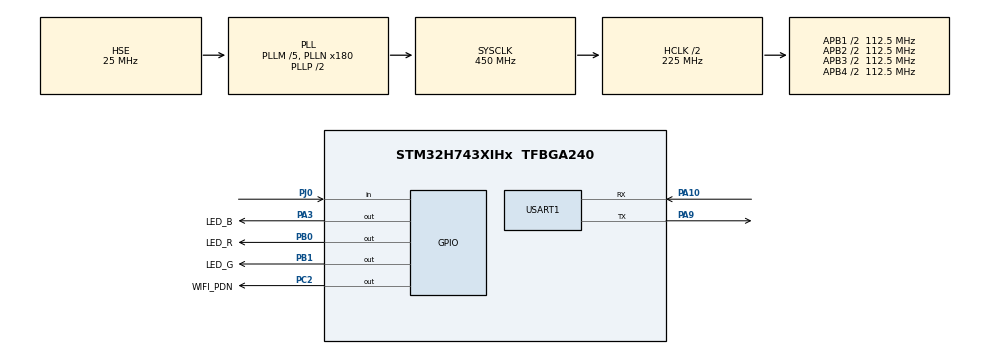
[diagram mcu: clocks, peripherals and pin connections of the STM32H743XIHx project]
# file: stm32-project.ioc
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CORTEX_M7.AccessPermission_S-Cortex_Memory_Protection_Unit_Region1_Settings_S=MPU_REGION_FULL_ACCESS
CORTEX_M7.AccessPermission_S-Cortex_Memory_Protection_Unit_Region2_Settings_S=MPU_REGION_FULL_ACCESS
CORTEX_M7.AccessPermission_Spec=MPU_REGION_FULL_ACCESS
CORTEX_M7.BaseAddress_S-Cortex_Memory_Protection_Unit_Region1_Settings_S=0x30044000
CORTEX_M7.BaseAddress_S-Cortex_Memory_Protection_Unit_Region2_Settings_S=0xD0000000
CORTEX_M7.BaseAddress_Spec=0x30040000
CORTEX_M7.CPU_DCache=Disabled
CORTEX_M7.CPU_ICache=Disabled
CORTEX_M7.DisableExec_S-Cortex_Memory_Protection_Unit_Region1_Settings_S=MPU_INSTRUCTION_ACCESS_DISABLE
CORTEX_M7.DisableExec_S-Cortex_Memory_Protection_Unit_Region2_Settings_S=MPU_INSTRUCTION_ACCESS_DISABLE
CORTEX_M7.Enable-Cortex_Memory_Protection_Unit_Region0_Settings=__NULL
CORTEX_M7.Enable-Cortex_Memory_Protection_Unit_Region15_Settings=__NULL
CORTEX_M7.Enable_S-Cortex_Memory_Protection_Unit_Region1_Settings_S=MPU_REGION_ENABLE
CORTEX_M7.Enable_S-Cortex_Memory_Protection_Unit_Region2_Settings_S=MPU_REGION_ENABLE
CORTEX_M7.IsBufferable_S-Cortex_Memory_Protection_Unit_Region2_Settings_S=MPU_ACCESS_BUFFERABLE
CORTEX_M7.IsBufferable_Spec=MPU_ACCESS_BUFFERABLE
CORTEX_M7.IsCacheable_S-Cortex_Memory_Protection_Unit_Region1_Settings_S=MPU_ACCESS_CACHEABLE
CORTEX_M7.IsCacheable_S-Cortex_Memory_Protection_Unit_Region2_Settings_S=MPU_ACCESS_CACHEABLE
CORTEX_M7.IsShareable_Spec=MPU_ACCESS_NOT_SHAREABLE
CORTEX_M7.MPU_Control=MPU_PRIVILEGED_DEFAULT
CORTEX_M7.Size_S-Cortex_Memory_Protection_Unit_Region1_Settings_S=MPU_REGION_SIZE_16KB
CORTEX_M7.Size_S-Cortex_Memory_Protection_Unit_Region2_Settings_S=MPU_REGION_SIZE_64MB
CORTEX_M7.Size_Spec=MPU_REGION_SIZE_256B
CORTEX_M7.SubRegionDisable_Spec=0x00
CORTEX_M7.TypeExtField_S-Cortex_Memory_Protection_Unit_Region2_Settings_S=MPU_TEX_LEVEL1
CORTEX_M7.default_mode_Activation=0
Mcu.Family=STM32H7
Mcu.Name=STM32H743XIHx
Mcu.Package=TFBGA240
NVIC.PriorityGroup=NVIC_PRIORITYGROUP_4
NVIC.TIM6_DAC_IRQn=true\:15\:0\:false\:false\:true\:false\:true\:true
NVIC.TimeBase=TIM6_DAC_IRQn
NVIC.TimeBaseIP=TIM6
NVIC.USART1_IRQn=true\:0\:0\:false\:false\:true\:true\:true\:true
PA10.Mode=Asynchronous
PA10.Signal=USART1_RX
PA13\ (JTMS/SWDIO).Mode=Serial_Wire
PA13\ (JTMS/SWDIO).Signal=DEBUG_JTMS-SWDIO
PA14\ (JTCK/SWCLK).Mode=Serial_Wire
PA14\ (JTCK/SWCLK).Signal=DEBUG_JTCK-SWCLK
PA3.GPIO_Label=LED_B
PA3.GPIO_ModeDefaultOutputPP=GPIO_MODE_OUTPUT_PP
PA3.GPIO_PuPd=GPIO_PULLUP
PA3.PinState=GPIO_PIN_SET
PA3.Signal=GPIO_Output
PA9.Mode=Asynchronous
PA9.Signal=USART1_TX
PB0.GPIO_Label=LED_R
PB0.GPIO_PuPd=GPIO_PULLUP
PB0.PinState=GPIO_PIN_SET
PB0.Signal=GPIO_Output
PB1.GPIO_Label=LED_G
PB1.GPIO_ModeDefaultOutputPP=GPIO_MODE_OUTPUT_PP
PB1.GPIO_PuPd=GPIO_PULLUP
PB1.PinState=GPIO_PIN_SET
PB1.Signal=GPIO_Output
PC2.GPIO_Label=WIFI_PDN
PC2.GPIO_ModeDefaultOutputPP=GPIO_MODE_OUTPUT_PP
PC2.GPIO_PuPd=GPIO_PULLUP
PC2.PinState=GPIO_PIN_RESET
PC2.Signal=GPIO_Output
PH0-OSC_IN\ (PH0).Mode=HSE-External-Oscillator
PH0-OSC_IN\ (PH0).Signal=RCC_OSC_IN
PH1-OSC_OUT\ (PH1).Mode=HSE-External-Oscillator
PH1-OSC_OUT\ (PH1).Signal=RCC_OSC_OUT
PJ0.Signal=GPIO_Input
ProjectManager.HeapSize=0x1200
ProjectManager.StackSize=0x1200
ProjectManager.TargetToolchain=MDK-ARM V5.32
RCC.ADCFreq_Value=450000000
RCC.APB1Freq_Value=112500000
RCC.APB2Freq_Value=112500000
RCC.APB3Freq_Value=112500000
RCC.APB4Freq_Value=112500000
RCC.CortexFreq_Value=450000000
RCC.D1PPRE=RCC_APB3_DIV2
RCC.D2PPRE1=RCC_APB1_DIV2
RCC.D2PPRE2=RCC_APB2_DIV2
RCC.D3PPRE=RCC_APB4_DIV2
RCC.DIVM1=5
RCC.DIVM2=5
RCC.DIVN1=180
RCC.DIVN2=180
RCC.DIVQ1=4
RCC.DIVR2=12
RCC.FMCCLockSelection=RCC_FMCCLKSOURCE_PLL
RCC.HCLKFreq_Value=225000000
RCC.HPRE=RCC_HCLK_DIV2
RCC.PLL2FRACN=0
RCC.PLL3FRACN=0
RCC.PLLFRACN=0
RCC.PLLSourceVirtual=RCC_PLLSOURCE_HSE
RCC.QSPICLockSelection=RCC_QSPICLKSOURCE_PLL
RCC.SYSCLKFreq_VALUE=450000000
RCC.SYSCLKSource=RCC_SYSCLKSOURCE_PLLCLK
RCC.USBFreq_Value=225000000
USART1.VirtualMode-Asynchronous=VM_ASYNC
VP_MEMORYMAP_VS_MEMORYMAP.Mode=CurAppReg
VP_SYS_VS_tim6.Mode=TIM6
board=custom

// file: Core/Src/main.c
/* USER CODE BEGIN Header */
/**
  ******************************************************************************
  * @file           : main.c
  * @brief          : Minimal UART-only demo: echo bytes back over USART1.
  ******************************************************************************
  * @attention
  *
  * Copyright (c) 2026 STMicroelectronics.
  * All rights reserved.
  *
  * This software is licensed under terms that can be found in the LICENSE file
  * in the root directory of this software component.
  * If no LICENSE file comes with this software, it is provided AS-IS.
  *
  ******************************************************************************
  */
/* USER CODE END Header */
#include "main.h"
#include "usart.h"
#include "gpio.h"

/* USER CODE BEGIN Includes */
#include <errno.h>
#include <stdbool.h>
#include <stdlib.h>
#include <string.h>
#include "log.h"
#include "SEGGER_RTT.h"
/* USER CODE END Includes */

/* USER CODE BEGIN PTD */
typedef void (*cmd_handler_t)(int argc, char *argv[]);

typedef struct {
  const char *name;
  cmd_handler_t handler;
  const char *help;   /* one-line usage, printed by 'help' and on arg errors */
} cmd_entry_t;

typedef struct {
  const char *name;    /* "r" / "g" / "b" */
  GPIO_TypeDef *port;
  uint16_t pin;
} led_map_t;

typedef struct {
  bool     pending;   /* set until the done print; new requests are rejected while set */
  uint32_t id;        /* per-slot accepted counter, echoed on accept and on done */
  uint32_t start;     /* HAL_GetTick() snapshot at accept */
  uint32_t due;       /* accepted delay in ms */
} rtt_async_slot_t;

/* Forward declarations: s_cmd_table (PV) references the handlers, so these
   must precede it; the PFP section sits after PV in the CubeMX layout. */
static void rtt_cmd_poll(void);
static void rtt_line_feed(uint8_t c);
static void cmd_execute_line(void);
static uint32_t cmd_tokenize(char *line, char *argv[], uint32_t max_argc);
static const cmd_entry_t *cmd_lookup(const char *name);
static void cmd_help(int argc, char *argv[]);
static const led_map_t *led_lookup(const char *name);
static void cmd_led(int argc, char *argv[]);
static void cmd_tick(int argc, char *argv[]);
static void cmd_reboot(int argc, char *argv[]);
static bool cmd_parse_ms(const char *arg, uint32_t *out_ms);
static bool rtt_async_claim(rtt_async_slot_t *slot, uint32_t ms);
static void rtt_async_cancel(rtt_async_slot_t *slot, const char *name);
static void rtt_async_report(const rtt_async_slot_t *slot, const char *name);
static void cmd_async1(int argc, char *argv[]);
static void cmd_async2(int argc, char *argv[]);
static void cmd_async_status(int argc, char *argv[]);
static void cmd_echo(int argc, char *argv[]);
static void rtt_tick_task(void);
static void rtt_async_task(void);
/* USER CODE END PTD */

/* USER CODE BEGIN PD */
#define RTT_PROMPT         "rtt> "   /* shell prompt */
#define RTT_CMD_LINE_MAX   64u       /* line buffer: command + args + NUL */
#define RTT_CMD_MAX_ARGS   8u        /* tokens kept; argv array holds one more NULL sentinel */
#define RTT_POLL_PERIOD_MS 10u       /* main loop idle cadence */
#define RTT_TICK_PERIOD_MS 1000u     /* periodic tick print period */
#define RTT_DLY_DEFAULT_MS 1000u     /* async1/async2 delay when no argument is given */
#define RTT_ASYNC_SLOT_1   0u        /* s_async[] index of the 'async1' slot */
#define RTT_ASYNC_SLOT_2   1u        /* s_async[] index of the 'async2' slot */
#define RTT_ASYNC_SLOT_COUNT 2u
/* USER CODE END PD */

/* USER CODE BEGIN PV */
static const char s_led_usage[] = "led <r|g|b> [on|off|toggle] : drive or query LED";
static const char s_tick_usage[] = "tick [on|off] : show or set 1 s print";
static const char s_async1_usage[] = "async1 [ms|cancel] : reply now and again at timeout (default 1000)";
static const char s_async2_usage[] = "async2 [ms|quiet|cancel] : silent accept, result at timeout only (default 1000)";
static const char s_async_status_usage[] = "async : show both async channels' state";
static const char s_echo_usage[] = "echo <text> [text...] : echo tokens joined by single spaces";

static const cmd_entry_t s_cmd_table[] = {
  {"help",   cmd_help,   "list commands"},
  {"?",      cmd_help,   "alias of help"},
  {"led",    cmd_led,    s_led_usage},
  {"tick",   cmd_tick,   s_tick_usage},
  {"reboot", cmd_reboot, "reset MCU"},
  {"async",  cmd_async_status, s_async_status_usage},
  {"async1", cmd_async1, s_async1_usage},
  {"async2", cmd_async2, s_async2_usage},
  {"echo",   cmd_echo,   s_echo_usage},
  {NULL, NULL, NULL}
};
static const led_map_t s_led_table[] = {
  {"r", LED_R_GPIO_Port, LED_R_Pin},
  {"g", LED_G_GPIO_Port, LED_G_Pin},
  {"b", LED_B_GPIO_Port, LED_B_Pin},   /* LED_B lives on GPIOA, unlike R and G */
  {NULL, NULL, 0}
};
static char     s_line[RTT_CMD_LINE_MAX];   /* in-progress input line */
static uint16_t s_line_len;
static bool     s_cr_last;                  /* true = last byte was a submit CR: swallow the LF of CRLF */
static bool     s_tick_enabled = false;      /* quiet by default; enable with 'tick on' */
static uint32_t s_seconds;    /* uptime counter for the tick print */
static uint32_t s_tick_ref;   /* HAL_GetTick() snapshot of the last 1 s expiry */
static volatile uint32_t s_boot_mark = 0x31415926u;   /* build marker: debugger-visible via rtt.mem_read */
static rtt_async_slot_t s_async[RTT_ASYNC_SLOT_COUNT];   /* [SLOT_1]=async1, [SLOT_2]=async2 */
static const char * const s_async_name[RTT_ASYNC_SLOT_COUNT] = {"async1", "async2"};
/* USER CODE END PV */

void SystemClock_Config(void);
static void MPU_Config(void);

int main(void)
{

  /* MPU Configuration--------------------------------------------------------*/
  MPU_Config();

  /* MCU Configuration--------------------------------------------------------*/

  /* Reset of all peripherals, Initializes the Flash interface and the Systick. */
  HAL_Init();

  /* Configure the system clock */
  SystemClock_Config();

  /* Initialize all configured peripherals */
  MX_GPIO_Init();
  MX_USART1_UART_Init();
  /* USER CODE BEGIN 2 */
  log_line("");
  log_line("=== basic-jlink-rtt : UART TX-only ===");
  log_line("USART1 115200 8N1, transmit only.");

  /* SEGGER RTT: output goes to the J-Link RTT Viewer/Console on channel 0. */
  SEGGER_RTT_ConfigUpBuffer(0, NULL, NULL, 0, SEGGER_RTT_MODE_NO_BLOCK_SKIP);
  SEGGER_RTT_printf(0, "\r\n=== basic-jlink-rtt : RTT ===\r\n");
  SEGGER_RTT_printf(0, "RTT channel 0 ready. Output also mirrored on USART1.\r\n");
  s_tick_ref = HAL_GetTick();
  (void)s_boot_mark;   /* volatile read: pins the marker in the image so rtt.mem_read can see it */
  SEGGER_RTT_printf(0, "Type 'help' for commands.\r\n");
  SEGGER_RTT_printf(0, RTT_PROMPT);
  /* USER CODE END 2 */

  /* Infinite loop */
  /* USER CODE BEGIN WHILE */
  while (1)
  {
    rtt_cmd_poll();
    rtt_tick_task();
    rtt_async_task();

    if (SEGGER_RTT_HasData(0) == 0u)
    {
      HAL_Delay(RTT_POLL_PERIOD_MS);   /* idle cadence; busy-poll while the host streams data */
    }
    /* USER CODE END WHILE */

  }
}

void SystemClock_Config(void)
{
  RCC_OscInitTypeDef RCC_OscInitStruct = {0};
  RCC_ClkInitTypeDef RCC_ClkInitStruct = {0};

  /** Supply configuration update enable
  */
  HAL_PWREx_ConfigSupply(PWR_LDO_SUPPLY);

  /** Configure the main internal regulator output voltage
  */
  __HAL_PWR_VOLTAGESCALING_CONFIG(PWR_REGULATOR_VOLTAGE_SCALE0);

  while(!__HAL_PWR_GET_FLAG(PWR_FLAG_VOSRDY)) {}

  /** Initializes the RCC Oscillators according to the specified parameters
  * in the RCC_OscInitTypeDef structure.
  */
  RCC_OscInitStruct.OscillatorType = RCC_OSCILLATORTYPE_HSE;
  RCC_OscInitStruct.HSEState = RCC_HSE_ON;
  RCC_OscInitStruct.PLL.PLLState = RCC_PLL_ON;
  RCC_OscInitStruct.PLL.PLLSource = RCC_PLLSOURCE_HSE;
  RCC_OscInitStruct.PLL.PLLM = 5;
  RCC_OscInitStruct.PLL.PLLN = 180;
  RCC_OscInitStruct.PLL.PLLP = 2;
  RCC_OscInitStruct.PLL.PLLQ = 4;
  RCC_OscInitStruct.PLL.PLLR = 2;
  RCC_OscInitStruct.PLL.PLLRGE = RCC_PLL1VCIRANGE_2;
  RCC_OscInitStruct.PLL.PLLVCOSEL = RCC_PLL1VCOWIDE;
  RCC_OscInitStruct.PLL.PLLFRACN = 0;
  if (HAL_RCC_OscConfig(&RCC_OscInitStruct) != HAL_OK)
  {
    Error_Handler();
  }

  /** Initializes the CPU, AHB and APB buses clocks
  */
  RCC_ClkInitStruct.ClockType = RCC_CLOCKTYPE_HCLK|RCC_CLOCKTYPE_SYSCLK
                              |RCC_CLOCKTYPE_PCLK1|RCC_CLOCKTYPE_PCLK2
                              |RCC_CLOCKTYPE_D3PCLK1|RCC_CLOCKTYPE_D1PCLK1;
  RCC_ClkInitStruct.SYSCLKSource = RCC_SYSCLKSOURCE_PLLCLK;
  RCC_ClkInitStruct.SYSCLKDivider = RCC_SYSCLK_DIV1;
  RCC_ClkInitStruct.AHBCLKDivider = RCC_HCLK_DIV2;
  RCC_ClkInitStruct.APB3CLKDivider = RCC_APB3_DIV2;
  RCC_ClkInitStruct.APB1CLKDivider = RCC_APB1_DIV2;
  RCC_ClkInitStruct.APB2CLKDivider = RCC_APB2_DIV2;
  RCC_ClkInitStruct.APB4CLKDivider = RCC_APB4_DIV2;

  if (HAL_RCC_ClockConfig(&RCC_ClkInitStruct, FLASH_LATENCY_3) != HAL_OK)
  {
    Error_Handler();
  }
}

/* USER CODE BEGIN 4 */
/* ---- RTT input: drain the down buffer, line editing with echo ---- */

/**
  * @brief  Drain pending RTT input bytes into the line editor.
  * @retval None
  */
static void rtt_cmd_poll(void)
{
  uint8_t buf[16u];   /* matches BUFFER_SIZE_DOWN: drains the ring in one pass */
  unsigned n;
  unsigned i;

  do
  {
    n = SEGGER_RTT_Read(0u, buf, sizeof(buf));
    for (i = 0u; i < n; i++)
    {
      rtt_line_feed(buf[i]);
    }
  } while (n > 0u);
}

/**
  * @brief  Feed one input byte: printable echo, backspace, submit on CR/LF.
  * @param  c raw byte from the RTT down buffer
  * @retval None
  */
static void rtt_line_feed(uint8_t c)
{
  if ((c == '\r') || (c == '\n'))
  {
    /* Swallow the LF of a CRLF pair, but only as the byte right after the CR. */
    if ((c == '\n') && s_cr_last && (s_line_len == 0u))
    {
      s_cr_last = false;
      return;
    }
    s_cr_last = (c == '\r') ? true : false;
    SEGGER_RTT_WriteString(0, "\r\n");
    cmd_execute_line();   /* uses s_line/s_line_len, then the line is spent */
    s_line_len = 0u;
    SEGGER_RTT_WriteString(0, RTT_PROMPT);
  }
  else if ((c == '\b') || (c == 0x7Fu))
  {
    s_cr_last = false;
    if (s_line_len > 0u)
    {
      s_line_len--;
      SEGGER_RTT_WriteString(0, "\b \b");
    }
  }
  else if ((c >= 0x20u) && (c <= 0x7Eu))
  {
    s_cr_last = false;
    if (s_line_len < (RTT_CMD_LINE_MAX - 1u))
    {
      s_line[s_line_len] = (char)c;
      s_line_len++;
      SEGGER_RTT_PutChar(0, (char)c);
    }
    /* line full: drop silently, backspace still works */
  }
  else
  {
    /* other control or non-ASCII bytes: ignore */
    s_cr_last = false;
  }
}

/* ---- command parsing and dispatch ---- */

/**
  * @brief  Tokenize a line in place into argv; tokens beyond max_argc are dropped.
  * @param  line     NUL-terminated line, modified in place
  * @param  argv     output array of max_argc + 1 entries; argv[argc] = NULL
  * @param  max_argc maximum number of tokens collected
  * @retval token count
  */
static uint32_t cmd_tokenize(char *line, char *argv[], uint32_t max_argc)
{
  uint32_t argc = 0u;
  char *p = line;

  while (*p != '\0')
  {
    while ((*p == ' ') || (*p == '\t'))
    {
      p++;
    }
    if (*p == '\0')
    {
      break;
    }
    if (argc < max_argc)
    {
      argv[argc] = p;
      argc++;
    }
    while ((*p != '\0') && (*p != ' ') && (*p != '\t'))
    {
      p++;
    }
    if (*p != '\0')
    {
      *p = '\0';
      p++;
    }
  }
  argv[argc] = NULL;
  return argc;
}

/**
  * @brief  Find a command table entry by name.
  * @param  name first token of the submitted line
  * @retval matching entry, or NULL
  */
static const cmd_entry_t *cmd_lookup(const char *name)
{
  const cmd_entry_t *cmd;

  for (cmd = s_cmd_table; cmd->name != NULL; cmd++)
  {
    if (strcmp(name, cmd->name) == 0)
    {
      return cmd;
    }
  }
  return NULL;
}

/**
  * @brief  Parse s_line and run the matching command handler.
  * @retval None
  */
static void cmd_execute_line(void)
{
  char *argv[RTT_CMD_MAX_ARGS + 1u];
  uint32_t argc;
  const cmd_entry_t *cmd;

  s_line[s_line_len] = '\0';
  argc = cmd_tokenize(s_line, argv, RTT_CMD_MAX_ARGS);
  if (argc == 0u)
  {
    return;   /* empty line: the caller prints the prompt */
  }

  cmd = cmd_lookup(argv[0]);
  if (cmd != NULL)
  {
    cmd->handler((int)argc, argv);
  }
  else
  {
    SEGGER_RTT_printf(0, "cmd: '%s' not found, try 'help'\r\n", argv[0]);
  }
}

/**
  * @brief  List all commands with their one-line help.
  * @retval None
  */
static void cmd_help(int argc, char *argv[])
{
  const cmd_entry_t *cmd;

  (void)argc;
  (void)argv;
  for (cmd = s_cmd_table; cmd->name != NULL; cmd++)
  {
    SEGGER_RTT_printf(0, "%s - %s\r\n", cmd->name, cmd->help);
  }
}

/**
  * @brief  Find an LED table entry by name.
  * @param  name LED selector: "r" / "g" / "b"
  * @retval matching entry, or NULL
  */
static const led_map_t *led_lookup(const char *name)
{
  const led_map_t *led;

  for (led = s_led_table; led->name != NULL; led++)
  {
    if (strcmp(name, led->name) == 0)
    {
      return led;
    }
  }
  return NULL;
}

/**
  * @brief  Drive one board LED: led <r|g|b> <on|off|toggle>.
  * @retval None
  */
static void cmd_led(int argc, char *argv[])
{
  const led_map_t *led;

  if ((argc != 2) && (argc != 3))
  {
    SEGGER_RTT_printf(0, "usage: %s\r\n", s_led_usage);
    return;
  }

  led = led_lookup(argv[1]);
  if (led == NULL)
  {
    SEGGER_RTT_printf(0, "unknown LED '%s'\r\n", argv[1]);
    return;
  }

  if (argc == 2)   /* query current state (output mode: IDR mirrors the pin) */
  {
    GPIO_PinState state = HAL_GPIO_ReadPin(led->port, led->pin);
    SEGGER_RTT_printf(0, "LED %s %s\r\n", led->name,
                      (state == GPIO_PIN_RESET) ? "on" : "off");   /* active-low */
    return;
  }

  /* Board LEDs are active-low: on = RESET, off = SET. */
  if (strcmp(argv[2], "on") == 0)
  {
    HAL_GPIO_WritePin(led->port, led->pin, GPIO_PIN_RESET);
    SEGGER_RTT_printf(0, "LED %s on\r\n", led->name);
  }
  else if (strcmp(argv[2], "off") == 0)
  {
    HAL_GPIO_WritePin(led->port, led->pin, GPIO_PIN_SET);
    SEGGER_RTT_printf(0, "LED %s off\r\n", led->name);
  }
  else if (strcmp(argv[2], "toggle") == 0)
  {
    HAL_GPIO_TogglePin(led->port, led->pin);
    SEGGER_RTT_printf(0, "LED %s toggled\r\n", led->name);
  }
  else
  {
    SEGGER_RTT_printf(0, "unknown action '%s'\r\n", argv[2]);
  }
}

/**
  * @brief  Show or set the periodic tick print: tick [on|off].
  * @retval None
  */
static void cmd_tick(int argc, char *argv[])
{
  if (argc == 1)
  {
    SEGGER_RTT_printf(0, "tick: %s\r\n", s_tick_enabled ? "on" : "off");
  }
  else if ((argc == 2) && (strcmp(argv[1], "on") == 0))
  {
    s_tick_enabled = true;
    SEGGER_RTT_printf(0, "tick on\r\n");
  }
  else if ((argc == 2) && (strcmp(argv[1], "off") == 0))
  {
    s_tick_enabled = false;
    SEGGER_RTT_printf(0, "tick off\r\n");
  }
  else
  {
    SEGGER_RTT_printf(0, "usage: %s\r\n", s_tick_usage);
  }
}

/**
  * @brief  Reset the MCU after the host drained the up buffer.
  * @retval None
  */
static void cmd_reboot(int argc, char *argv[])
{
  uint32_t start;

  (void)argc;
  (void)argv;
  SEGGER_RTT_printf(0, "rebooting...\r\n");
  /* A reset rebuilds the RTT control block and unread up-buffer data is lost;
     wait until the host drained it (bounded, an absent host cannot hang us). */
  start = HAL_GetTick();
  while ((SEGGER_RTT_HasDataUp(0u) != 0u) && ((HAL_GetTick() - start) < 500u))
  {
  }
  NVIC_SystemReset();
}

/* ---- timing-test commands: async1/async2 reply later from the main loop ---- */

/**
  * @brief  Parse a decimal millisecond argument for async1/async2.
  * @param  arg token from argv
  * @param  out_ms parsed value, written only on success
  * @retval true if arg is a plain decimal number that fits in int32 ms
  */
static bool cmd_parse_ms(const char *arg, uint32_t *out_ms)
{
  char *end;
  long val;

  errno = 0;
  val = strtol(arg, &end, 10);
  /* errno rejects out-of-range input (strtol saturates at LONG_MAX otherwise);
     that caps ms at ~24.8 days, far beyond any console use. */
  if ((errno != 0) || (end == arg) || (*end != '\0') || (val < 0))
  {
    return false;
  }
  *out_ms = (uint32_t)val;
  return true;
}

/**
  * @brief  Claim a free async slot: bump its id and arm the delay.
  * @param  slot slot to claim
  * @param  ms accepted delay
  * @retval false if the slot is still busy (state untouched)
  */
static bool rtt_async_claim(rtt_async_slot_t *slot, uint32_t ms)
{
  if (slot->pending)
  {
    return false;
  }
  slot->pending = true;
  slot->id++;
  slot->start = HAL_GetTick();
  slot->due = ms;
  return true;
}

/**
  * @brief  Cancel a pending async request or report there is none.
  * @retval None
  */
static void rtt_async_cancel(rtt_async_slot_t *slot, const char *name)
{
  if (slot->pending)
  {
    slot->pending = false;   /* id stays consumed: next accept is #N+1 */
    SEGGER_RTT_printf(0, "%s #%u cancelled\r\n", name, (unsigned)slot->id);
  }
  else
  {
    SEGGER_RTT_printf(0, "%s cancel: nothing pending\r\n", name);
  }
}

/**
  * @brief  Print one async channel's current state (idle or pending with
  *         remaining delay).
  * @retval None
  */
static void rtt_async_report(const rtt_async_slot_t *slot, const char *name)
{
  if (slot->pending)
  {
    uint32_t elapsed = HAL_GetTick() - slot->start;
    uint32_t left = (elapsed >= slot->due) ? 0u : (slot->due - elapsed);
    SEGGER_RTT_printf(0, "%s: #%u pending, %u ms left\r\n",
                      name, (unsigned)slot->id, (unsigned)left);
  }
  else
  {
    SEGGER_RTT_printf(0, "%s: idle\r\n", name);
  }
}

/**
  * @brief  async1 [ms]: acknowledge now, print the result ms later from the main loop.
  * @retval None
  */
static void cmd_async1(int argc, char *argv[])
{
  uint32_t ms = RTT_DLY_DEFAULT_MS;
  rtt_async_slot_t *slot = &s_async[RTT_ASYNC_SLOT_1];

  if ((argc == 2) && (strcmp(argv[1], "cancel") == 0))
  {
    rtt_async_cancel(slot, s_async_name[RTT_ASYNC_SLOT_1]);
    return;
  }
  if (argc > 2)
  {
    SEGGER_RTT_printf(0, "usage: %s\r\n", s_async1_usage);
    return;
  }
  if ((argc == 2) && !cmd_parse_ms(argv[1], &ms))
  {
    SEGGER_RTT_printf(0, "bad ms '%s'\r\n", argv[1]);
    return;
  }

  if (!rtt_async_claim(slot, ms))
  {
    SEGGER_RTT_printf(0, "async1 busy: #%u still pending\r\n", (unsigned)slot->id);
    return;
  }
  SEGGER_RTT_printf(0, "async1 #%u accepted, due in %u ms\r\n",
                    (unsigned)slot->id, (unsigned)ms);
}

/**
  * @brief  async2 [ms] [quiet]: silent accept; 'done' ms later is the only feedback.
  * @retval None
  */
static void cmd_async2(int argc, char *argv[])
{
  uint32_t ms = RTT_DLY_DEFAULT_MS;
  bool quiet = false;
  rtt_async_slot_t *slot = &s_async[RTT_ASYNC_SLOT_2];

  if ((argc == 2) && (strcmp(argv[1], "cancel") == 0))
  {
    rtt_async_cancel(slot, s_async_name[RTT_ASYNC_SLOT_2]);
    return;
  }

  /* Consume the optional 'quiet' token first, then fall through to the same
     numeric path as async1. 'async2 quiet 500' (reversed) is not a form. */
  if ((argc == 2) && (strcmp(argv[1], "quiet") == 0))
  {
    quiet = true;
    argc = 1;   /* 'async2 quiet': default delay, silent rejection */
  }
  else if (argc == 3)
  {
    if (strcmp(argv[2], "quiet") != 0)
    {
      SEGGER_RTT_printf(0, "usage: %s\r\n", s_async2_usage);
      return;
    }
    quiet = true;
    argc = 2;   /* 'async2 500 quiet': drop the quiet token */
  }
  if (argc > 2)
  {
    SEGGER_RTT_printf(0, "usage: %s\r\n", s_async2_usage);
    return;
  }
  if ((argc == 2) && !cmd_parse_ms(argv[1], &ms))
  {
    SEGGER_RTT_printf(0, "bad ms '%s'\r\n", argv[1]);
    return;
  }

  if (!rtt_async_claim(slot, ms))
  {
    /* quiet silences only the rejection, never the done print */
    if (!quiet)
    {
      SEGGER_RTT_printf(0, "async2 busy: #%u still pending\r\n", (unsigned)slot->id);
    }
    return;
  }
  /* accepted: silent by design, the done print is the only feedback */
}

/**
  * @brief  async: print both async channels' current state.
  * @retval None
  */
static void cmd_async_status(int argc, char *argv[])
{
  (void)argc;
  (void)argv;
  rtt_async_report(&s_async[RTT_ASYNC_SLOT_1], s_async_name[RTT_ASYNC_SLOT_1]);
  rtt_async_report(&s_async[RTT_ASYNC_SLOT_2], s_async_name[RTT_ASYNC_SLOT_2]);
}

/**
  * @brief  echo <text> [text...]: echo tokens joined by single spaces.
  * @retval None
  */
static void cmd_echo(int argc, char *argv[])
{
  int i;

  if (argc < 2)
  {
    SEGGER_RTT_printf(0, "usage: %s\r\n", s_echo_usage);
    return;
  }
  SEGGER_RTT_WriteString(0, "echo:");
  for (i = 1; i < argc; i++)
  {
    SEGGER_RTT_printf(0, " %s", argv[i]);
  }
  SEGGER_RTT_WriteString(0, "\r\n");
}

/* ---- periodic 1 s tick print (non-blocking scheduler) ---- */

/**
  * @brief  Print the uptime counter once per second, when enabled.
  * @retval None
  */
static void rtt_tick_task(void)
{
  uint32_t now = HAL_GetTick();

  if ((now - s_tick_ref) >= RTT_TICK_PERIOD_MS)
  {
    s_tick_ref += RTT_TICK_PERIOD_MS;   /* += keeps the cadence drift-free */
    s_seconds++;
    if (s_tick_enabled && (s_line_len == 0u))   /* never interrupt an in-progress input line */
    {
      SEGGER_RTT_printf(0, "\r\ntick=%u\r\n" RTT_PROMPT, (unsigned)s_seconds);
      log_hex("tick=", s_seconds, 8u);  /* UART mirror, stays in sync with RTT */
    }
  }
}

/**
  * @brief  Print the due async results, slot 1 then slot 2; hold while a line
  *         is in progress.
  * @retval None
  */
static void rtt_async_task(void)
{
  uint32_t i;

  for (i = 0u; i < RTT_ASYNC_SLOT_COUNT; i++)
  {
    rtt_async_slot_t *slot = &s_async[i];
    if (slot->pending && ((HAL_GetTick() - slot->start) >= slot->due))
    {
      /* Hold until no line is in progress: an unterminated host line keeps the
         result waiting (unlike tick, which skips) -- it is never dropped. */
      if (s_line_len == 0u)
      {
        slot->pending = false;
        SEGGER_RTT_printf(0, "\r\n%s #%u done\r\n" RTT_PROMPT,
                          s_async_name[i], (unsigned)slot->id);
      }
    }
  }
}
/* USER CODE END 4 */

 /* MPU Configuration */

void MPU_Config(void)
{

  /* Disables the MPU */
  HAL_MPU_Disable();

  /* Enables the MPU */
  HAL_MPU_Enable(MPU_PRIVILEGED_DEFAULT);

}

void HAL_TIM_PeriodElapsedCallback(TIM_HandleTypeDef *htim)
{
  if (htim->Instance == TIM6)
  {
    HAL_IncTick();
  }
}

void Error_Handler(void)
{
  __disable_irq();
  while (1)
  {
  }
}
